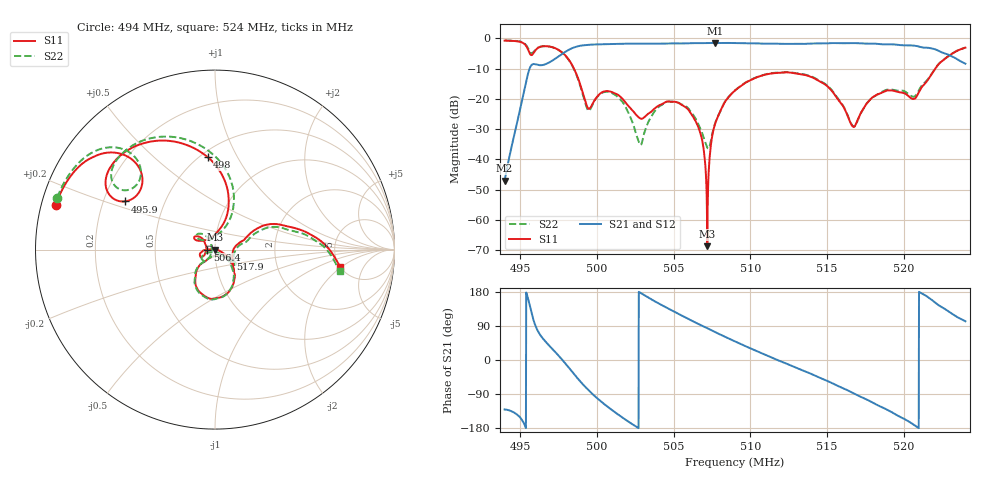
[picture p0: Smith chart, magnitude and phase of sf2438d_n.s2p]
!Agilent Technologies,E5071C,MY46104547,A.08.12
!Date: Wed May 17 14:18:40 2017
!Data & Calibration Information:
!Freq	S11:SOLT2(ON)	S21:SOLT2(ON)	S12:SOLT2(ON)	S22:SOLT2(ON)
# Hz S dB R 50
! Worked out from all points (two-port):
!   1601 points, 494 MHz to 524 MHz, reference 50 ohm
!   highest |S21| = -1.48 dB at 507.7 MHz (marker M1); lowest = -47.0 dB at 494 MHz (marker M2)
!   |S21| within 3 dB of the highest: 497.9 MHz to 522.4 MHz (24.47 MHz wide, 4.8 % of centre)
!   lowest |S11| = -68.7 dB at 507.2 MHz (marker M3), VSWR 1.00, Z = 50 - j0.0104 ohm
!   |S11| at or under -10 dB: 498.5 MHz to 522 MHz (23.52 MHz wide, 4.61 % of centre)
!   |S22| runs from -36.4 to -0.7 dB; largest |S21 - S12| = 0.0011
!   S11 on the Smith chart (normalised r, x): 494 MHz: 0.04, +0.14; 495.9 MHz: 0.29, +0.23; 498 MHz: 0.54, +0.76; 506.4 MHz: 0.92, -0.00; 517.9 MHz: 1.18, -0.13; 524 MHz: 5.02, -1.89
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4.94e8  -0.73 164.5  -46.98 -130.4  -46.96 -130.2  -0.67 161.8
4.952938e8  -1.84 138.2  -16.78 -170.1  -16.77 -170.1  -1.66 136.5
4.95875e8  -4.89 151.9  -8.47 106.2  -8.47 106.2  -4.50 146.3
4.965875e8  -2.57 139.5  -8.65 52.1  -8.65 52.2  -2.57 134.8
4.97975e8  -5.73 94.5  -4.37 -10.0  -4.36 -10.0  -5.80 89.2
4.990062e8  -16.61 72.3  -2.36 -60.3  -2.36 -60.3  -17.05 65.3
4.99475e8  -23.28 114.7  -2.09 -80.1  -2.09 -80.1  -23.93 110.7
5.013688e8  -18.59 141.4  -1.80 -143.2  -1.80 -143.2  -19.34 128.0
5.028312e8  -26.44 172.1  -1.72 177.5  -1.72 177.5  -35.15 178.6
5.040125e8  -22.25 -150.8  -1.72 149.5  -1.72 149.5  -22.68 -129.4
5.0645e8  -27.48 -179.7  -1.57 98.3  -1.57 98.3  -26.66 -158.3
5.068625e8  -33.64 175.5  -1.58 90.4  -1.58 90.4  -31.28 -146.2
5.072e8  -68.66 -16.4  -1.52 83.8  -1.52 83.8  -36.19 -105.7
5.077062e8  -28.21 -20.6  -1.48 73.7  -1.49 73.7  -28.02 -39.3
5.09e8  -17.21 -42.9  -1.53 49.0  -1.53 49.0  -17.19 -46.8
5.140062e8  -12.83 -117.7  -1.69 -37.5  -1.69 -37.4  -12.66 -118.0
5.166875e8  -29.17 -85.7  -1.53 -87.2  -1.53 -87.2  -29.02 -87.8
5.1785e8  -19.95 -32.2  -1.69 -109.9  -1.70 -109.9  -19.93 -32.3
5.190125e8  -17.16 -36.9  -1.97 -133.4  -1.97 -133.5  -16.93 -36.1
5.206812e8  -19.97 -5.4  -2.41 -172.0  -2.41 -172.0  -19.16 -7.3
5.222562e8  -8.53 22.2  -4.09 144.7  -4.10 144.6  -8.46 19.3
5.24e8  -3.05 -7.7  -8.35 102.1  -8.36 102.0  -3.03 -9.5
